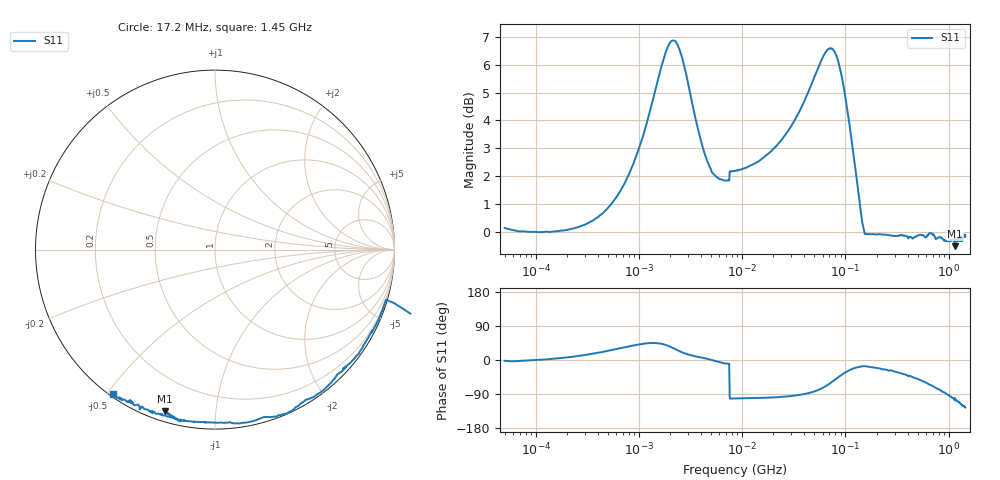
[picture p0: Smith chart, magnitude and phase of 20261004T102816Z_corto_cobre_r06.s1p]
! piloto_corto / corto_cobre / r06
# HZ S RI R 50
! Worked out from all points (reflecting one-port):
!   501 points, 50 kHz to 1.45 GHz, reference 50 ohm
!   lowest |S11| = -0.5 dB at 1.157 GHz (marker M1), VSWR 34.48, Z = 2.24 - j36.8 ohm
!   phase of S11 starts at -2 deg and turns -123 deg over the sweep
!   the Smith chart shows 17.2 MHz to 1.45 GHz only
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50000  1.016 -0.0369
183000  1.001 0.099
373000  1.006 0.3175
658000  1.014 0.61
1180000  1.121 1.082
1630000  1.434 1.343
1990000  1.775 1.269
2440000  1.954 0.8651
3430000  1.611 0.2942
4870000  1.307 0.0278
7300000  1.219 -0.2115
7750000  -0.2616 -1.258
8560000  -0.2564 -1.262
1.81e7  -0.2236 -1.366
3.16e7  -0.1171 -1.572
4.87e7  0.1966 -1.863
6.67e7  0.8489 -1.943
7.57e7  1.19 -1.759
8.83e7  1.457 -1.324
9.82e7  1.472 -0.9925
1e8  1.464 -0.9398
1.18e8  1.293 -0.548
1.36e8  1.089 -0.3567
1.63e8  0.947 -0.2947
4.06e8  0.7127 -0.6638
6.76e8  0.3891 -0.916
1.1575e9  -0.2795 -0.9013
1.45e9  -0.571 -0.8041
